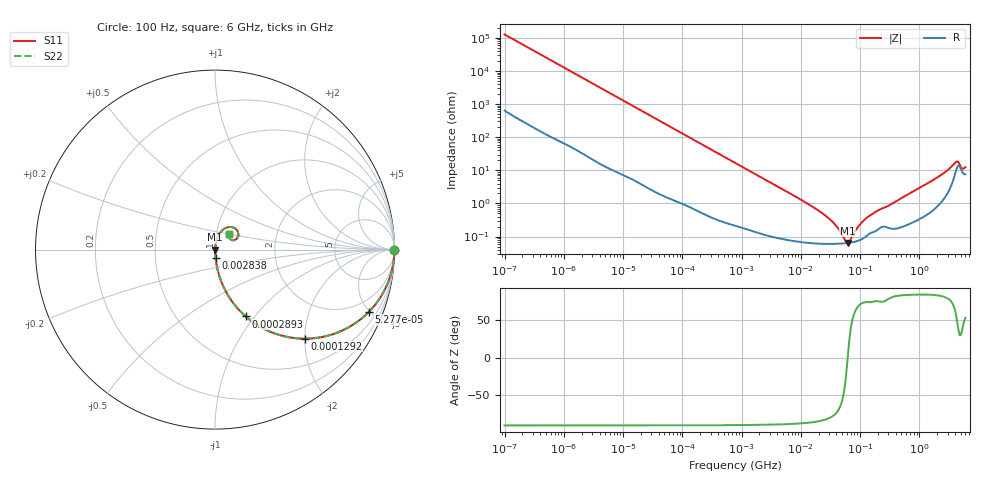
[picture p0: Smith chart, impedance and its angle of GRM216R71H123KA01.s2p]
!Murata Part Number: GRM216R71H123KA01
!These Parameters are Measured in Series Mode Connection
!Data Generated on Mar 30, 2021
!  o--ll--o
!Port1  Port2
!  o------o
!Operation Temp=25[degC], DC Bias Voltage=0[V]
!Freq. Start=100[Hz] Stop=6[GHz] 401[Steps]
# Hz S RI R 50
!Freq.(Hz) S11(Real) S11(Imag) S21(Real) S21(Imag) S12(Real) S12(Imag) S22(Real) S22(Imag)
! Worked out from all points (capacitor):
!   401 points, 100 Hz to 6 GHz, reference 50 ohm
!   read as one part in series: C = 12.5 nF near 109 Hz
!   lowest |Z| = 64.2 mohm at 62.33 MHz (marker M1)
!   series resonance near 61.86 MHz, so ESL is about 530 pH
!   S11 on the Smith chart (normalised r, x): 100 Hz: open; 52.77 kHz: 1.03, -4.91; 129.2 kHz: 1.02, -2.01; 289.3 kHz: 1.01, -0.90; 2.838 MHz: 1.00, -0.09; 6 GHz: 1.15, +0.20
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100  1 -0.000788  4.6e-06 0.000788  4.6e-06 0.000788  1 -0.000788
2008  0.9997 -0.0157  0.000327 0.0157  0.000327 0.0157  0.9997 -0.0157
12041  0.9908 -0.0926  0.0092 0.0926  0.0092 0.0926  0.9908 -0.0926
40335  0.9099 -0.2833  0.0901 0.2833  0.0901 0.2833  0.9099 -0.2833
52766  0.8559 -0.348  0.1441 0.348  0.1441 0.348  0.8559 -0.348
129199  0.5028 -0.4961  0.4972 0.4961  0.4972 0.4961  0.5028 -0.4961
289253  0.1712 -0.3723  0.8288 0.3723  0.8288 0.3723  0.1712 -0.3723
774597  0.0298 -0.1638  0.9702 0.1638  0.9702 0.1638  0.0298 -0.1638
2837864  0.0032 -0.0463  0.9968 0.0463  0.9968 0.0463  0.0032 -0.0463
1.555665e7  0.000691 -0.00805  0.9993 0.00805  0.9993 0.00805  0.000691 -0.00805
3.330331e7  0.000607 -0.00286  0.9994 0.00286  0.9994 0.00286  0.000607 -0.00286
4.35672e7  0.00061 -0.00155  0.9994 0.00155  0.9994 0.00155  0.00061 -0.00155
5.699437e7  0.000629 -0.000356  0.9994 0.000356  0.9994 0.000356  0.000629 -0.000356
6.233367e7  0.000641 3.41e-05  0.9994 -3.41e-05  0.9994 -3.41e-05  0.000641 3.41e-05
9.326766e7  0.000752 0.00185  0.9992 -0.00185  0.9992 -0.00185  0.000752 0.00185
1.220122e8  0.000974 0.00321  0.999 -0.00321  0.999 -0.00321  0.000974 0.00321
3.124326e8  0.00186 0.00862  0.9981 -0.00862  0.9981 -0.00862  0.00186 0.00862
1.95892e9  0.011 0.0575  0.989 -0.0575  0.989 -0.0575  0.011 0.0575
4.009986e9  0.0889 0.1264  0.9111 -0.1264  0.9111 -0.1264  0.0889 0.1264
4.385646e9  0.1261 0.1044  0.8739 -0.1044  0.8739 -0.1044  0.1261 0.1044
5.245841e9  0.0881 0.0549  0.9119 -0.0549  0.9119 -0.0549  0.0881 0.0549
6e9  0.0781 0.085  0.9219 -0.085  0.9219 -0.085  0.0781 0.085
